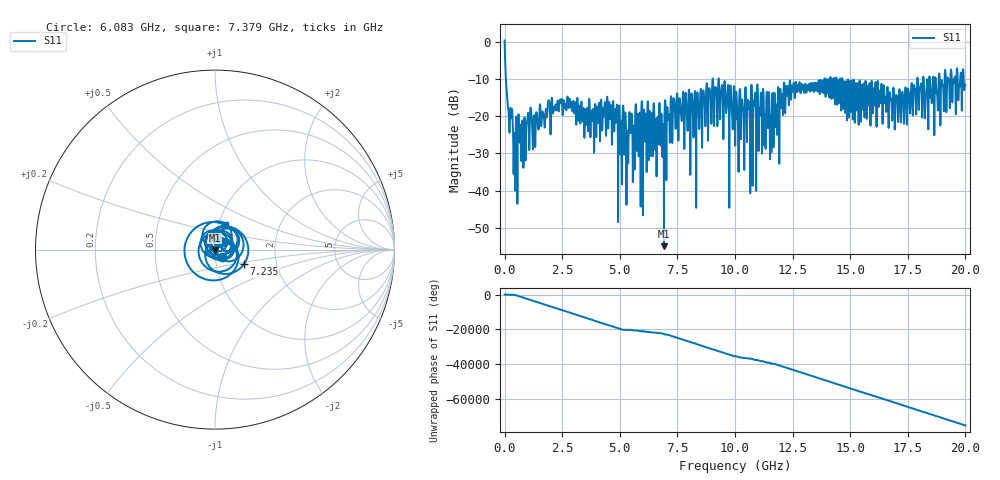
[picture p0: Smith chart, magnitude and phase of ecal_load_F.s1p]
! MS46122B
! 2250307/22442219
! 7/28/2025 1:59:43 PM
! C:\USERS\SPARKY\DOCUMENTS\VNA_DATA\JULY28_2025\3K\ECAL_LOAD_F.S1P
! CHANNEL.1
! TR.MEASUREMENT
! RAW.DATA
# GHZ S RI R 50.0
! FREQ.GHZ  S11RE  S11IM
!; PortSelection: Port_1
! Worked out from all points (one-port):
!   10001 points, 1 MHz to 20 GHz, reference 50 ohm
!   lowest |S11| = -55.0 dB at 6.917 GHz (marker M1), VSWR 1.00, Z = 50 - j0.174 ohm
!   |S11| at or under -10 dB: 57.24 MHz to 9.027 GHz (8.969 GHz wide, 197 % of centre); 9.301 GHz to 13.88 GHz (4.579 GHz wide, 39.5 % of centre); 14.66 GHz to 17.91 GHz (3.252 GHz wide, 20 % of centre) (the widest 3 of 23)
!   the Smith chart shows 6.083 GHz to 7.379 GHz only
!   S11 on the Smith chart (normalised r, x): 6.083 GHz: 1.08, -0.08; 7.235 GHz: 1.36, -0.23; 7.379 GHz: 1.07, +0.30
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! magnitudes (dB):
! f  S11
! 1 MHz  0.4
! 145 MHz  -17.4
! 469 MHz  -34.3
! 585 MHz  -21.0
! 821 MHz  -32.7
! 1.075 GHz  -28.4
! 1.269 GHz  -20.3
! 1.869 GHz  -17.3
! 2.501 GHz  -17.5
! 3.807 GHz  -21.1
! 4.529 GHz  -16.7
! 5.001 GHz  -20.6
! 6.083 GHz  -25.1
! 6.139 GHz  -19.9
! 6.917 GHz  -55.0
! 7.235 GHz  -14.9
! 7.379 GHz  -16.6
! 7.501 GHz  -14.3
! 8.389 GHz  -14.6
! 9.101 GHz  -18.3
! 10 GHz  -22.6
! 10.08 GHz  -17.2
! 10.9 GHz  -17.5
! 11.59 GHz  -20.0
! 12.5 GHz  -13.1
! 15 GHz  -11.1
! 17.5 GHz  -12.9
! 20 GHz  -11.6
